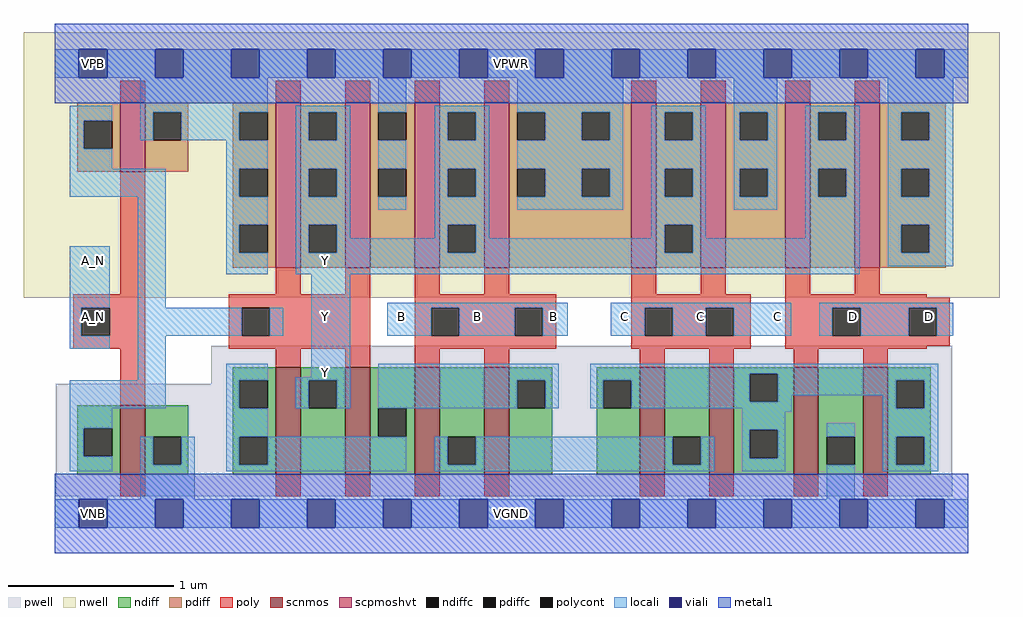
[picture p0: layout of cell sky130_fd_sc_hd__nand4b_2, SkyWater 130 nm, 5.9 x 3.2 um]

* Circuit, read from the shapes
.subckt sky130_fd_sc_hd__nand4b_2 A_N B C D VGND VNB VPB VPWR Y
XM1 VGND A_N n1 VNB sky130_fd_pr__nfet_01v8 w=0.42 l=0.15
XM2 Y n1 n2 VNB sky130_fd_pr__nfet_01v8 w=0.65 l=0.15 m=2
XM3 n3 B n2 VNB sky130_fd_pr__nfet_01v8 w=0.65 l=0.15 m=2
XM4 n3 C n4 VNB sky130_fd_pr__nfet_01v8 w=0.65 l=0.15 m=2
XM5 VGND D n4 VNB sky130_fd_pr__nfet_01v8 w=0.65 l=0.15 m=2
XM6 VPWR A_N n1 VPB sky130_fd_pr__pfet_01v8_hvt w=0.42 l=0.15
XM7 Y n1 VPWR VPB sky130_fd_pr__pfet_01v8_hvt w=1 l=0.15 m=2
XM8 Y B VPWR VPB sky130_fd_pr__pfet_01v8_hvt w=1 l=0.15 m=2
XM9 Y C VPWR VPB sky130_fd_pr__pfet_01v8_hvt w=1 l=0.15 m=2
XM10 Y D VPWR VPB sky130_fd_pr__pfet_01v8_hvt w=1 l=0.15 m=2
.ends

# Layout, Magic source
magic
tech sky130B
magscale 1 2
<< nwell >>
rect -38 261 1142 582
<< pwell >>
rect 189 157 1085 203
rect 1 21 1085 157
rect 30 -17 64 21
<< scnmos >>
rect 79 47 109 131
rect 267 47 297 177
rect 351 47 381 177
rect 435 47 465 177
rect 519 47 549 177
rect 707 47 737 177
rect 791 47 821 177
rect 893 47 923 177
rect 977 47 1007 177
<< scpmoshvt >>
rect 79 413 109 497
rect 267 297 297 497
rect 351 297 381 497
rect 435 297 465 497
rect 519 297 549 497
rect 697 297 727 497
rect 781 297 811 497
rect 883 297 913 497
rect 967 297 997 497
<< ndiff >>
rect 215 161 267 177
rect 27 103 79 131
rect 27 69 35 103
rect 69 69 79 103
rect 27 47 79 69
rect 109 93 161 131
rect 109 59 119 93
rect 153 59 161 93
rect 109 47 161 59
rect 215 127 223 161
rect 257 127 267 161
rect 215 93 267 127
rect 215 59 223 93
rect 257 59 267 93
rect 215 47 267 59
rect 297 161 351 177
rect 297 127 307 161
rect 341 127 351 161
rect 297 47 351 127
rect 381 127 435 177
rect 381 93 391 127
rect 425 93 435 127
rect 381 47 435 93
rect 465 93 519 177
rect 465 59 475 93
rect 509 59 519 93
rect 465 47 519 59
rect 549 161 601 177
rect 549 127 559 161
rect 593 127 601 161
rect 549 47 601 127
rect 655 161 707 177
rect 655 127 663 161
rect 697 127 707 161
rect 655 47 707 127
rect 737 93 791 177
rect 737 59 747 93
rect 781 59 791 93
rect 737 47 791 59
rect 821 169 893 177
rect 821 135 840 169
rect 874 135 893 169
rect 821 101 893 135
rect 821 67 840 101
rect 874 67 893 101
rect 821 47 893 67
rect 923 93 977 177
rect 923 59 933 93
rect 967 59 977 93
rect 923 47 977 59
rect 1007 161 1059 177
rect 1007 127 1017 161
rect 1051 127 1059 161
rect 1007 93 1059 127
rect 1007 59 1017 93
rect 1051 59 1059 93
rect 1007 47 1059 59
<< pdiff >>
rect 27 475 79 497
rect 27 441 35 475
rect 69 441 79 475
rect 27 413 79 441
rect 109 485 161 497
rect 109 451 119 485
rect 153 451 161 485
rect 109 413 161 451
rect 215 485 267 497
rect 215 451 223 485
rect 257 451 267 485
rect 215 417 267 451
rect 215 383 223 417
rect 257 383 267 417
rect 215 349 267 383
rect 215 315 223 349
rect 257 315 267 349
rect 215 297 267 315
rect 297 485 351 497
rect 297 451 307 485
rect 341 451 351 485
rect 297 417 351 451
rect 297 383 307 417
rect 341 383 351 417
rect 297 349 351 383
rect 297 315 307 349
rect 341 315 351 349
rect 297 297 351 315
rect 381 485 435 497
rect 381 451 391 485
rect 425 451 435 485
rect 381 417 435 451
rect 381 383 391 417
rect 425 383 435 417
rect 381 297 435 383
rect 465 485 519 497
rect 465 451 475 485
rect 509 451 519 485
rect 465 417 519 451
rect 465 383 475 417
rect 509 383 519 417
rect 465 349 519 383
rect 465 315 475 349
rect 509 315 519 349
rect 465 297 519 315
rect 549 485 697 497
rect 549 451 559 485
rect 593 451 637 485
rect 671 451 697 485
rect 549 417 697 451
rect 549 383 559 417
rect 593 383 637 417
rect 671 383 697 417
rect 549 297 697 383
rect 727 485 781 497
rect 727 451 737 485
rect 771 451 781 485
rect 727 417 781 451
rect 727 383 737 417
rect 771 383 781 417
rect 727 349 781 383
rect 727 315 737 349
rect 771 315 781 349
rect 727 297 781 315
rect 811 485 883 497
rect 811 451 828 485
rect 862 451 883 485
rect 811 417 883 451
rect 811 383 828 417
rect 862 383 883 417
rect 811 297 883 383
rect 913 485 967 497
rect 913 451 923 485
rect 957 451 967 485
rect 913 417 967 451
rect 913 383 923 417
rect 957 383 967 417
rect 913 297 967 383
rect 997 485 1077 497
rect 997 451 1023 485
rect 1057 451 1077 485
rect 997 417 1077 451
rect 997 383 1023 417
rect 1057 383 1077 417
rect 997 349 1077 383
rect 997 315 1023 349
rect 1057 315 1077 349
rect 997 297 1077 315
<< ndiffc >>
rect 35 69 69 103
rect 119 59 153 93
rect 223 127 257 161
rect 223 59 257 93
rect 307 127 341 161
rect 391 93 425 127
rect 475 59 509 93
rect 559 127 593 161
rect 663 127 697 161
rect 747 59 781 93
rect 840 135 874 169
rect 840 67 874 101
rect 933 59 967 93
rect 1017 127 1051 161
rect 1017 59 1051 93
<< pdiffc >>
rect 35 441 69 475
rect 119 451 153 485
rect 223 451 257 485
rect 223 383 257 417
rect 223 315 257 349
rect 307 451 341 485
rect 307 383 341 417
rect 307 315 341 349
rect 391 451 425 485
rect 391 383 425 417
rect 475 451 509 485
rect 475 383 509 417
rect 475 315 509 349
rect 559 451 593 485
rect 637 451 671 485
rect 559 383 593 417
rect 637 383 671 417
rect 737 451 771 485
rect 737 383 771 417
rect 737 315 771 349
rect 828 451 862 485
rect 828 383 862 417
rect 923 451 957 485
rect 923 383 957 417
rect 1023 451 1057 485
rect 1023 383 1057 417
rect 1023 315 1057 349
<< poly >>
rect 79 497 109 523
rect 267 497 297 523
rect 351 497 381 523
rect 435 497 465 523
rect 519 497 549 523
rect 697 497 727 523
rect 781 497 811 523
rect 883 497 913 523
rect 967 497 997 523
rect 79 265 109 413
rect 267 265 297 297
rect 351 265 381 297
rect 22 249 109 265
rect 22 215 32 249
rect 66 215 109 249
rect 22 199 109 215
rect 210 249 381 265
rect 210 215 226 249
rect 260 215 381 249
rect 210 199 381 215
rect 79 131 109 199
rect 267 177 297 199
rect 351 177 381 199
rect 435 265 465 297
rect 519 265 549 297
rect 697 265 727 297
rect 781 265 811 297
rect 883 265 913 297
rect 967 265 997 297
rect 435 249 606 265
rect 435 215 455 249
rect 489 215 556 249
rect 590 215 606 249
rect 435 199 606 215
rect 697 249 841 265
rect 697 215 713 249
rect 747 215 787 249
rect 821 215 841 249
rect 697 199 841 215
rect 883 261 1054 265
rect 883 249 1082 261
rect 883 215 940 249
rect 974 215 1032 249
rect 1066 215 1082 249
rect 883 203 1082 215
rect 883 199 1054 203
rect 435 177 465 199
rect 519 177 549 199
rect 707 177 737 199
rect 791 177 821 199
rect 893 177 923 199
rect 977 177 1007 199
rect 79 21 109 47
rect 267 21 297 47
rect 351 21 381 47
rect 435 21 465 47
rect 519 21 549 47
rect 707 21 737 47
rect 791 21 821 47
rect 893 21 923 47
rect 977 21 1007 47
<< polycont >>
rect 32 215 66 249
rect 226 215 260 249
rect 455 215 489 249
rect 556 215 590 249
rect 713 215 747 249
rect 787 215 821 249
rect 940 215 974 249
rect 1032 215 1066 249
<< locali >>
rect 0 527 29 561
rect 63 527 121 561
rect 155 527 213 561
rect 247 527 305 561
rect 339 527 397 561
rect 431 527 489 561
rect 523 527 581 561
rect 615 527 673 561
rect 707 527 765 561
rect 799 527 857 561
rect 891 527 949 561
rect 983 527 1041 561
rect 1075 527 1104 561
rect 18 475 69 493
rect 18 441 35 475
rect 103 485 257 527
rect 103 451 119 485
rect 153 451 223 485
rect 18 417 69 441
rect 207 417 257 451
rect 18 383 134 417
rect 18 249 66 323
rect 18 215 32 249
rect 18 199 66 215
rect 100 249 134 383
rect 207 383 223 417
rect 207 349 257 383
rect 207 315 223 349
rect 207 289 257 315
rect 291 485 357 493
rect 291 451 307 485
rect 341 451 357 485
rect 291 417 357 451
rect 291 383 307 417
rect 341 383 357 417
rect 291 349 357 383
rect 391 485 425 527
rect 391 417 425 451
rect 391 367 425 383
rect 459 485 525 493
rect 459 451 475 485
rect 509 451 525 485
rect 459 417 525 451
rect 459 383 475 417
rect 509 383 525 417
rect 291 315 307 349
rect 341 333 357 349
rect 459 349 525 383
rect 559 485 687 527
rect 593 451 637 485
rect 671 451 687 485
rect 559 417 687 451
rect 593 383 637 417
rect 671 383 687 417
rect 559 367 687 383
rect 721 485 787 493
rect 721 451 737 485
rect 771 451 787 485
rect 721 417 787 451
rect 721 383 737 417
rect 771 383 787 417
rect 459 333 475 349
rect 341 315 475 333
rect 509 333 525 349
rect 721 349 787 383
rect 821 485 873 527
rect 821 451 828 485
rect 862 451 873 485
rect 821 417 873 451
rect 821 383 828 417
rect 862 383 873 417
rect 821 367 873 383
rect 907 485 973 493
rect 907 451 923 485
rect 957 451 973 485
rect 907 417 973 451
rect 907 383 923 417
rect 957 383 973 417
rect 721 333 737 349
rect 509 315 737 333
rect 771 333 787 349
rect 907 333 973 383
rect 771 315 973 333
rect 291 289 973 315
rect 1007 485 1086 527
rect 1007 451 1023 485
rect 1057 451 1086 485
rect 1007 417 1086 451
rect 1007 383 1023 417
rect 1057 383 1086 417
rect 1007 349 1086 383
rect 1007 315 1023 349
rect 1057 315 1086 349
rect 1007 299 1086 315
rect 100 215 226 249
rect 260 215 276 249
rect 100 161 134 215
rect 18 127 134 161
rect 207 161 257 181
rect 310 165 357 289
rect 402 249 620 255
rect 402 215 455 249
rect 489 215 556 249
rect 590 215 620 249
rect 672 249 890 255
rect 672 215 713 249
rect 747 215 787 249
rect 821 215 890 249
rect 924 249 1086 255
rect 924 215 940 249
rect 974 215 1032 249
rect 1066 215 1086 249
rect 207 127 223 161
rect 291 161 357 165
rect 291 127 307 161
rect 341 127 357 161
rect 391 161 609 181
rect 391 127 559 161
rect 593 127 609 161
rect 647 169 1068 181
rect 647 161 840 169
rect 647 127 663 161
rect 697 135 840 161
rect 874 161 1068 169
rect 874 143 1017 161
rect 874 135 891 143
rect 697 127 891 135
rect 18 103 69 127
rect 18 69 35 103
rect 207 93 257 127
rect 831 123 891 127
rect 1001 127 1017 143
rect 1051 127 1068 161
rect 831 101 883 123
rect 18 51 69 69
rect 103 59 119 93
rect 153 59 169 93
rect 103 17 169 59
rect 207 59 223 93
rect 257 59 425 93
rect 207 51 425 59
rect 459 59 475 93
rect 509 59 747 93
rect 781 59 797 93
rect 459 51 797 59
rect 831 67 840 101
rect 874 67 883 101
rect 831 51 883 67
rect 933 93 967 109
rect 933 17 967 59
rect 1001 93 1068 127
rect 1001 59 1017 93
rect 1051 59 1068 93
rect 1001 51 1068 59
rect 0 -17 29 17
rect 63 -17 121 17
rect 155 -17 213 17
rect 247 -17 305 17
rect 339 -17 397 17
rect 431 -17 489 17
rect 523 -17 581 17
rect 615 -17 673 17
rect 707 -17 765 17
rect 799 -17 857 17
rect 891 -17 949 17
rect 983 -17 1041 17
rect 1075 -17 1104 17
<< viali >>
rect 29 527 63 561
rect 121 527 155 561
rect 213 527 247 561
rect 305 527 339 561
rect 397 527 431 561
rect 489 527 523 561
rect 581 527 615 561
rect 673 527 707 561
rect 765 527 799 561
rect 857 527 891 561
rect 949 527 983 561
rect 1041 527 1075 561
rect 29 -17 63 17
rect 121 -17 155 17
rect 213 -17 247 17
rect 305 -17 339 17
rect 397 -17 431 17
rect 489 -17 523 17
rect 581 -17 615 17
rect 673 -17 707 17
rect 765 -17 799 17
rect 857 -17 891 17
rect 949 -17 983 17
rect 1041 -17 1075 17
<< metal1 >>
rect 0 561 1104 592
rect 0 527 29 561
rect 63 527 121 561
rect 155 527 213 561
rect 247 527 305 561
rect 339 527 397 561
rect 431 527 489 561
rect 523 527 581 561
rect 615 527 673 561
rect 707 527 765 561
rect 799 527 857 561
rect 891 527 949 561
rect 983 527 1041 561
rect 1075 527 1104 561
rect 0 496 1104 527
rect 0 17 1104 48
rect 0 -17 29 17
rect 63 -17 121 17
rect 155 -17 213 17
rect 247 -17 305 17
rect 339 -17 397 17
rect 431 -17 489 17
rect 523 -17 581 17
rect 615 -17 673 17
rect 707 -17 765 17
rect 799 -17 857 17
rect 891 -17 949 17
rect 983 -17 1041 17
rect 1075 -17 1104 17
rect 0 -48 1104 -17
<< labels >>
flabel locali s 1040 221 1074 255 0 FreeSans 250 0 0 0 D
port 4 nsew signal input
flabel locali s 948 221 982 255 0 FreeSans 250 0 0 0 D
port 4 nsew signal input
flabel locali s 856 221 890 255 0 FreeSans 250 0 0 0 C
port 3 nsew signal input
flabel locali s 764 221 798 255 0 FreeSans 250 0 0 0 C
port 3 nsew signal input
flabel locali s 672 221 706 255 0 FreeSans 250 0 0 0 C
port 3 nsew signal input
flabel locali s 586 221 620 255 0 FreeSans 250 0 0 0 B
port 2 nsew signal input
flabel locali s 494 221 528 255 0 FreeSans 250 0 0 0 B
port 2 nsew signal input
flabel locali s 402 221 436 255 0 FreeSans 250 0 0 0 B
port 2 nsew signal input
flabel locali s 310 153 344 187 0 FreeSans 250 0 0 0 Y
port 9 nsew signal output
flabel locali s 310 221 344 255 0 FreeSans 250 0 0 0 Y
port 9 nsew signal output
flabel locali s 310 289 344 323 0 FreeSans 250 0 0 0 Y
port 9 nsew signal output
flabel locali s 30 289 64 323 0 FreeSans 250 0 0 0 A_N
port 1 nsew signal input
flabel locali s 30 221 64 255 0 FreeSans 250 0 0 0 A_N
port 1 nsew signal input
flabel pwell s 30 -17 64 17 0 FreeSans 200 0 0 0 VNB
port 6 nsew ground bidirectional
flabel nwell s 30 527 64 561 0 FreeSans 200 0 0 0 VPB
port 7 nsew power bidirectional
flabel metal1 s 30 -17 64 17 0 FreeSans 200 0 0 0 VGND
port 5 nsew ground bidirectional abutment
flabel metal1 s 30 527 64 561 0 FreeSans 200 0 0 0 VPWR
port 8 nsew power bidirectional abutment
rlabel comment s 0 0 0 0 4 nand4b_2
rlabel metal1 s 0 -48 1104 48 1 VGND
port 5 nsew ground bidirectional abutment
rlabel metal1 s 0 496 1104 592 1 VPWR
port 8 nsew power bidirectional abutment
<< properties >>
string FIXED_BBOX 0 0 1104 544
string GDS_END 1906288
string GDS_FILE $PDKPATH/libs.ref/sky130_fd_sc_hd/gds/sky130_fd_sc_hd.gds
string GDS_START 1896232
string LEFclass CORE
string LEFsite unithd
string LEFsymmetry X Y R90
string path 0.000 0.000 27.600 0.000 
<< end >>
